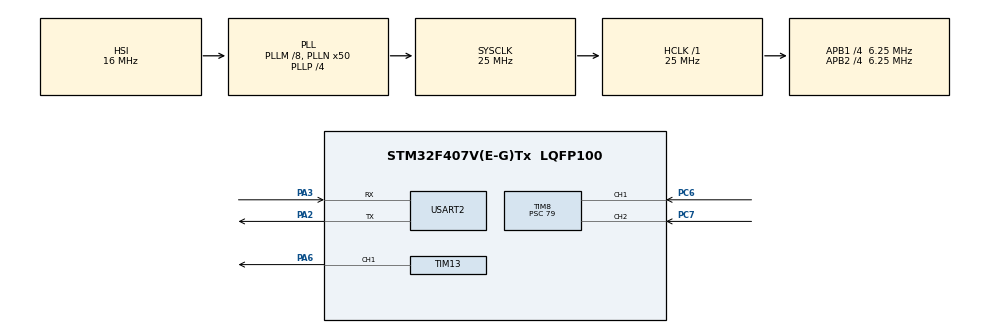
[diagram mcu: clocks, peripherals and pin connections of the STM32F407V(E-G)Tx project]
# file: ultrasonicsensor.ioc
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Mcu.Family=STM32F4
Mcu.Name=STM32F407V(E-G)Tx
Mcu.Package=LQFP100
NVIC.PriorityGroup=NVIC_PRIORITYGROUP_0
PA2.Mode=Asynchronous
PA2.Signal=USART2_TX
PA3.Mode=Asynchronous
PA3.Signal=USART2_RX
PA6.Signal=S_TIM13_CH1
PC6.Signal=S_TIM8_CH1
PC7.Signal=S_TIM8_CH2
ProjectManager.HeapSize=0x200
ProjectManager.StackSize=0x400
ProjectManager.TargetToolchain=STM32CubeIDE
RCC.48MHZClocksFreq_Value=14285714.285714285
RCC.AHBFreq_Value=25000000
RCC.APB1CLKDivider=RCC_HCLK_DIV4
RCC.APB1Freq_Value=6250000
RCC.APB1TimFreq_Value=12500000
RCC.APB2CLKDivider=RCC_HCLK_DIV4
RCC.APB2Freq_Value=6250000
RCC.APB2TimFreq_Value=12500000
RCC.CortexFreq_Value=25000000
RCC.HCLKFreq_Value=25000000
RCC.HSE_VALUE=8000000
RCC.HSI_VALUE=16000000
RCC.LSE_VALUE=32768
RCC.PLLM=8
RCC.PLLN=50
RCC.PLLP=RCC_PLLP_DIV4
RCC.PLLQ=7
RCC.SYSCLKFreq_VALUE=25000000
RCC.SYSCLKSource=RCC_SYSCLKSOURCE_PLLCLK
RCC.VCOOutputFreq_Value=100000000
SH.S_TIM13_CH1.0=TIM13_CH1,PWM Generation1 CH1
SH.S_TIM8_CH1.0=TIM8_CH1,Input_Capture1_from_TI1
SH.S_TIM8_CH2.0=TIM8_CH2,Input_Capture2_from_TI2
SH.S_TIM8_CH2.1=TIM8_CH2,TriggerSource_TI2FP2
TIM13.Channel=TIM_CHANNEL_1
TIM13.Period=39999
TIM13.Prescaler=199
TIM8.Channel-Input_Capture1_from_TI1=TIM_CHANNEL_1
TIM8.Channel-Input_Capture2_from_TI2=TIM_CHANNEL_2
TIM8.ICPolarity_CH1=TIM_INPUTCHANNELPOLARITY_BOTHEDGE
TIM8.ICPolarity_CH2=TIM_INPUTCHANNELPOLARITY_BOTHEDGE
TIM8.Prescaler=79
USART2.VirtualMode=VM_ASYNC
VP_TIM13_VS_ClockSourceINT.Mode=Enable_Timer
VP_TIM8_VS_ControllerModeReset.Mode=Reset Mode
board=STM32F407G-DISC1

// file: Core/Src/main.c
/* USER CODE BEGIN Header */
/**
  ******************************************************************************
  * @file           : main.c
  * @brief          : Main program body
  ******************************************************************************
  * @attention
  *
  * Copyright (c) 2023 STMicroelectronics.
  * All rights reserved.
  *
  * This software is licensed under terms that can be found in the LICENSE file
  * in the root directory of this software component.
  * If no LICENSE file comes with this software, it is provided AS-IS.
  *
  ******************************************************************************
  */
/* USER CODE END Header */
#include "main.h"
#include "tim.h"
#include "usart.h"
#include "gpio.h"

/* USER CODE BEGIN PV */
#ifdef __GNUC__
#define PUTCHAR_PROTOTYPE int __io_putchar(int ch)
#else
#define PUTCHAR_PROTOTYPE int fputc(int ch,FILE *f)
#endif

PUTCHAR_PROTOTYPE{
	HAL_UART_Transmit(&huart2, (uint8_t *)&ch, 1, 10);
	return ch;
}

uint32_t echo1,echo2,delay;
uint32_t dis1,dist2;

/* USER CODE END PV */

void SystemClock_Config(void);

int main(void)
{

  /* MCU Configuration--------------------------------------------------------*/

  /* Reset of all peripherals, Initializes the Flash interface and the Systick. */
  HAL_Init();

  /* Configure the system clock */
  SystemClock_Config();

  /* Initialize all configured peripherals */
  MX_GPIO_Init();
  MX_TIM8_Init();
  MX_USART2_UART_Init();
  MX_TIM13_Init();
  /* USER CODE BEGIN 2 */
  HAL_TIM_Base_Start(&htim13);
  HAL_TIM_Base_Start(&htim13);
  HAL_TIM_PWM_Start(&htim13, TIM_CHANNEL_1);
  HAL_TIM_IC_Start(&htim8, TIM_CHANNEL_1);
  HAL_TIM_IC_Start(&htim8, TIM_CHANNEL_2);
  TIM13->CCR1=3;
  /* USER CODE END 2 */

  /* Infinite loop */
  /* USER CODE BEGIN WHILE */
  while (1)
  {
	  if(HAL_GetTick()-delay >= 1000){
		  delay = HAL_GetTick();
		  //echo1 = HAL_TIM_ReadCapturedValue(&htim8, TIM_CHANNEL_1);
		  echo2 = HAL_TIM_ReadCapturedValue(&htim8, TIM_CHANNEL_2);
		  //dis1 = echo1 / 58.0f;
		  //dist2 = echo2 / 58.0f;
		  dist2 = ((echo2 * 0.0340)/2);
		  printf("echo2 : %lu , Dis2 : %d\r\n",echo2,dist2);

	  }
    /* USER CODE END WHILE */

  }
}

void SystemClock_Config(void)
{
  RCC_OscInitTypeDef RCC_OscInitStruct = {0};
  RCC_ClkInitTypeDef RCC_ClkInitStruct = {0};

  /** Configure the main internal regulator output voltage
  */
  __HAL_RCC_PWR_CLK_ENABLE();
  __HAL_PWR_VOLTAGESCALING_CONFIG(PWR_REGULATOR_VOLTAGE_SCALE1);

  /** Initializes the RCC Oscillators according to the specified parameters
  * in the RCC_OscInitTypeDef structure.
  */
  RCC_OscInitStruct.OscillatorType = RCC_OSCILLATORTYPE_HSI;
  RCC_OscInitStruct.HSIState = RCC_HSI_ON;
  RCC_OscInitStruct.HSICalibrationValue = RCC_HSICALIBRATION_DEFAULT;
  RCC_OscInitStruct.PLL.PLLState = RCC_PLL_ON;
  RCC_OscInitStruct.PLL.PLLSource = RCC_PLLSOURCE_HSI;
  RCC_OscInitStruct.PLL.PLLM = 8;
  RCC_OscInitStruct.PLL.PLLN = 50;
  RCC_OscInitStruct.PLL.PLLP = RCC_PLLP_DIV4;
  RCC_OscInitStruct.PLL.PLLQ = 7;
  if (HAL_RCC_OscConfig(&RCC_OscInitStruct) != HAL_OK)
  {
    Error_Handler();
  }

  /** Initializes the CPU, AHB and APB buses clocks
  */
  RCC_ClkInitStruct.ClockType = RCC_CLOCKTYPE_HCLK|RCC_CLOCKTYPE_SYSCLK
                              |RCC_CLOCKTYPE_PCLK1|RCC_CLOCKTYPE_PCLK2;
  RCC_ClkInitStruct.SYSCLKSource = RCC_SYSCLKSOURCE_PLLCLK;
  RCC_ClkInitStruct.AHBCLKDivider = RCC_SYSCLK_DIV1;
  RCC_ClkInitStruct.APB1CLKDivider = RCC_HCLK_DIV4;
  RCC_ClkInitStruct.APB2CLKDivider = RCC_HCLK_DIV4;

  if (HAL_RCC_ClockConfig(&RCC_ClkInitStruct, FLASH_LATENCY_0) != HAL_OK)
  {
    Error_Handler();
  }
}

void Error_Handler(void)
{
  __disable_irq();
  while (1)
  {
  }
}
